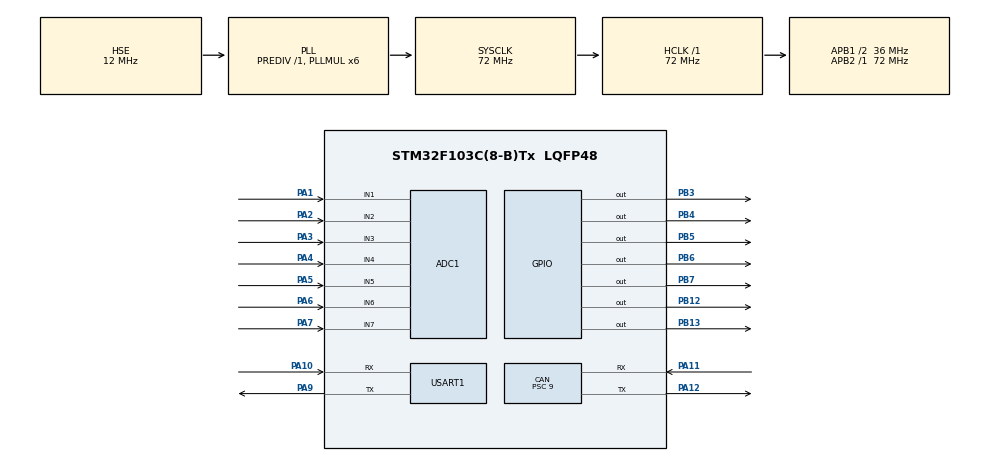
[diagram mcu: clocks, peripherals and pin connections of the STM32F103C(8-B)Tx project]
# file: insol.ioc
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ADC1.Channel-34\#ChannelRegularConversion=ADC_CHANNEL_1
ADC1.Channel-35\#ChannelRegularConversion=ADC_CHANNEL_2
ADC1.Channel-36\#ChannelRegularConversion=ADC_CHANNEL_3
ADC1.Channel-37\#ChannelRegularConversion=ADC_CHANNEL_4
ADC1.Channel-38\#ChannelRegularConversion=ADC_CHANNEL_5
ADC1.Channel-39\#ChannelRegularConversion=ADC_CHANNEL_6
ADC1.Channel-40\#ChannelRegularConversion=ADC_CHANNEL_7
ADC1.ContinuousConvMode=ENABLE
ADC1.DataAlign=ADC_DATAALIGN_RIGHT
ADC1.DiscontinuousConvMode=DISABLE
ADC1.EnableAnalogWatchDog=false
ADC1.EnableRegularConversion=ENABLE
ADC1.ExternalTrigConv=ADC_SOFTWARE_START
ADC1.InjNumberOfConversion=0
ADC1.NbrOfConversion=7
ADC1.NbrOfConversionFlag=1
ADC1.Rank-34\#ChannelRegularConversion=1
ADC1.Rank-35\#ChannelRegularConversion=2
ADC1.Rank-36\#ChannelRegularConversion=3
ADC1.Rank-37\#ChannelRegularConversion=4
ADC1.Rank-38\#ChannelRegularConversion=5
ADC1.Rank-39\#ChannelRegularConversion=6
ADC1.Rank-40\#ChannelRegularConversion=7
ADC1.SamplingTime-34\#ChannelRegularConversion=ADC_SAMPLETIME_71CYCLES_5
ADC1.SamplingTime-35\#ChannelRegularConversion=ADC_SAMPLETIME_71CYCLES_5
ADC1.SamplingTime-36\#ChannelRegularConversion=ADC_SAMPLETIME_71CYCLES_5
ADC1.SamplingTime-37\#ChannelRegularConversion=ADC_SAMPLETIME_71CYCLES_5
ADC1.SamplingTime-38\#ChannelRegularConversion=ADC_SAMPLETIME_71CYCLES_5
ADC1.SamplingTime-39\#ChannelRegularConversion=ADC_SAMPLETIME_71CYCLES_5
ADC1.SamplingTime-40\#ChannelRegularConversion=ADC_SAMPLETIME_71CYCLES_5
ADC1.ScanConvMode=ADC_SCAN_ENABLE
ADC1.master=1
CAN.ABOM=DISABLE
CAN.AWUM=DISABLE
CAN.BS1=CAN_BS1_2TQ
CAN.BS2=CAN_BS2_1TQ
CAN.CalculateTimeBit=1000
CAN.CalculateTimeQuantum=250.0
CAN.Mode=CAN_MODE_NORMAL
CAN.Prescaler=9
CAN.TXFP=ENABLE
Dma.ADC1.1.Direction=DMA_PERIPH_TO_MEMORY
Dma.ADC1.1.Instance=DMA1_Channel1
Dma.ADC1.1.MemDataAlignment=DMA_MDATAALIGN_HALFWORD
Dma.ADC1.1.MemInc=DMA_MINC_ENABLE
Dma.ADC1.1.Mode=DMA_NORMAL
Dma.ADC1.1.PeriphDataAlignment=DMA_PDATAALIGN_HALFWORD
Dma.ADC1.1.PeriphInc=DMA_PINC_DISABLE
Dma.ADC1.1.Priority=DMA_PRIORITY_HIGH
Dma.MEMTOMEM.0.Direction=DMA_MEMORY_TO_MEMORY
Dma.MEMTOMEM.0.Instance=DMA1_Channel2
Dma.MEMTOMEM.0.MemDataAlignment=DMA_MDATAALIGN_BYTE
Dma.MEMTOMEM.0.MemInc=DMA_MINC_ENABLE
Dma.MEMTOMEM.0.Mode=DMA_NORMAL
Dma.MEMTOMEM.0.PeriphDataAlignment=DMA_PDATAALIGN_BYTE
Dma.MEMTOMEM.0.PeriphInc=DMA_PINC_ENABLE
Dma.MEMTOMEM.0.Priority=DMA_PRIORITY_LOW
Dma.Request0=MEMTOMEM
Dma.Request1=ADC1
IWDG.Prescaler=IWDG_PRESCALER_4
IWDG.Reload=409
Mcu.Family=STM32F1
Mcu.Name=STM32F103C(8-B)Tx
Mcu.Package=LQFP48
NVIC.ADC1_2_IRQn=true\:0\:0\:false\:false\:true
NVIC.CAN1_RX1_IRQn=true\:0\:0\:false\:false\:true
NVIC.CAN1_SCE_IRQn=true\:0\:0\:false\:false\:true
NVIC.DMA1_Channel1_IRQn=true\:0\:0\:false\:true\:true\:1
NVIC.PriorityGroup=NVIC_PRIORITYGROUP_4
NVIC.TIM1_UP_IRQn=true\:0\:0\:false\:true\:true\:3
NVIC.USART1_IRQn=true\:0\:0\:false\:true\:true\:2
NVIC.USB_HP_CAN1_TX_IRQn=true\:0\:0\:false\:false\:true
NVIC.USB_LP_CAN1_RX0_IRQn=true\:0\:0\:false\:false\:true
PA1.Signal=ADCx_IN1
PA10.Mode=Asynchronous
PA10.Signal=USART1_RX
PA11.Mode=Master
PA11.Signal=CAN_RX
PA12.Mode=Master
PA12.Signal=CAN_TX
PA13.Mode=Serial_Wire
PA13.Signal=SYS_JTMS-SWDIO
PA14.Mode=Serial_Wire
PA14.Signal=SYS_JTCK-SWCLK
PA2.Signal=ADCx_IN2
PA3.Signal=ADCx_IN3
PA4.Signal=ADCx_IN4
PA5.Signal=ADCx_IN5
PA6.Signal=ADCx_IN6
PA7.Signal=ADCx_IN7
PA9.Mode=Asynchronous
PA9.Signal=USART1_TX
PB12.Signal=GPIO_Output
PB13.Signal=GPIO_Output
PB3.GPIO_ModeDefaultOutputPP=GPIO_MODE_OUTPUT_OD
PB3.Signal=GPIO_Output
PB4.Signal=GPIO_Output
PB5.Signal=GPIO_Output
PB6.Signal=GPIO_Output
PB7.Signal=GPIO_Output
PD0-OSC_IN.Mode=HSE-External-Oscillator
PD0-OSC_IN.Signal=RCC_OSC_IN
PD1-OSC_OUT.Mode=HSE-External-Oscillator
PD1-OSC_OUT.Signal=RCC_OSC_OUT
ProjectManager.HeapSize=0x200
ProjectManager.StackSize=0x400
ProjectManager.TargetToolchain=EWARM
RCC.ADCPresc=RCC_ADCPCLK2_DIV6
RCC.AHBCLKDivider=RCC_SYSCLK_DIV1
RCC.AHBFreq_Value=72000000
RCC.APB1CLKDivider=RCC_HCLK_DIV2
RCC.APB1Freq_Value=36000000
RCC.APB1TimFreq_Value=72000000
RCC.APB2CLKDivider=RCC_HCLK_DIV1
RCC.APB2Freq_Value=72000000
RCC.APB2TimFreq_Value=72000000
RCC.HCLKFreq_Value=72000000
RCC.HSE_VALUE=12000000
RCC.LSEState=RCC_LSE_ON
RCC.OscillatorTypeHSI=RCC_OSCILLATORTYPE_HSI
RCC.PLLMUL=RCC_PLL_MUL6
RCC.PLLSourceVirtual=RCC_PLLSOURCE_HSE
RCC.RCC_MCOSource=RCC_MCO1SOURCE_PLLCLK
RCC.RCC_PERIPHCLK_RTCVar=RCC_PERIPHCLK_RTC
RCC.SYSCLKFreq_VALUE=72000000
RCC.SYSCLKSource=RCC_SYSCLKSOURCE_PLLCLK
RCC.USBFreq_Value=72000000
SH.ADCx_IN1.0=ADC1_IN1,IN1
SH.ADCx_IN2.0=ADC1_IN2,IN2
SH.ADCx_IN3.0=ADC1_IN3,IN3
SH.ADCx_IN4.0=ADC1_IN4,IN4
SH.ADCx_IN5.0=ADC1_IN5,IN5
SH.ADCx_IN6.0=ADC1_IN6,IN6
SH.ADCx_IN7.0=ADC1_IN7,IN7
TIM1.Period=10
TIM1.Prescaler=7200
USART1.VirtualMode=VM_ASYNC
VP_IWDG_VS_IWDG.Mode=IWDG_Activate
VP_TIM1_VS_ClockSourceINT.Mode=Internal
board=insol

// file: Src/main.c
/**
  ******************************************************************************
  * File Name          : main.c
  * Description        : Main program body
  ******************************************************************************
  *
  * COPYRIGHT(c) 2017 STMicroelectronics
  *
  * Redistribution and use in source and binary forms, with or without modification,
  * are permitted provided that the following conditions are met:
  *   1. Redistributions of source code must retain the above copyright notice,
  *      this list of conditions and the following disclaimer.
  *   2. Redistributions in binary form must reproduce the above copyright notice,
  *      this list of conditions and the following disclaimer in the documentation
  *      and/or other materials provided with the distribution.
  *   3. Neither the name of STMicroelectronics nor the names of its contributors
  *      may be used to endorse or promote products derived from this software
  *      without specific prior written permission.
  *
  * THIS SOFTWARE IS PROVIDED BY THE COPYRIGHT HOLDERS AND CONTRIBUTORS "AS IS"
  * AND ANY EXPRESS OR IMPLIED WARRANTIES, INCLUDING, BUT NOT LIMITED TO, THE
  * IMPLIED WARRANTIES OF MERCHANTABILITY AND FITNESS FOR A PARTICULAR PURPOSE ARE
  * DISCLAIMED. IN NO EVENT SHALL THE COPYRIGHT HOLDER OR CONTRIBUTORS BE LIABLE
  * FOR ANY DIRECT, INDIRECT, INCIDENTAL, SPECIAL, EXEMPLARY, OR CONSEQUENTIAL
  * DAMAGES (INCLUDING, BUT NOT LIMITED TO, PROCUREMENT OF SUBSTITUTE GOODS OR
  * SERVICES; LOSS OF USE, DATA, OR PROFITS; OR BUSINESS INTERRUPTION) HOWEVER
  * CAUSED AND ON ANY THEORY OF LIABILITY, WHETHER IN CONTRACT, STRICT LIABILITY,
  * OR TORT (INCLUDING NEGLIGENCE OR OTHERWISE) ARISING IN ANY WAY OUT OF THE USE
  * OF THIS SOFTWARE, EVEN IF ADVISED OF THE POSSIBILITY OF SUCH DAMAGE.
  *
  ******************************************************************************
  */
#include "main.h"
#include "stm32f1xx_hal.h"

/* USER CODE BEGIN Includes */
#include "stdlib.h"
#include "hx_InsolSensor.h"
#include "hx_CANOpen.h"
#include "hx_CAN.h"
/* USER CODE END Includes */

ADC_HandleTypeDef hadc1;
DMA_HandleTypeDef hdma_adc1;

CAN_HandleTypeDef hcan;

IWDG_HandleTypeDef hiwdg;

TIM_HandleTypeDef htim1;

UART_HandleTypeDef huart1;

DMA_HandleTypeDef hdma_memtomem_dma1_channel2;

/* USER CODE BEGIN PV */
/* Private variables ---------------------------------------------------------*/

/* USER CODE END PV */

void SystemClock_Config(void);
void Error_Handler(void);
static void MX_GPIO_Init(void);
static void MX_DMA_Init(void);
static void MX_TIM1_Init(void);
static void MX_ADC1_Init(void);
static void MX_USART1_UART_Init(void);
static void MX_CAN_Init(void);
static void MX_IWDG_Init(void);
static void MX_NVIC_Init(void);

/* USER CODE BEGIN PFP */
/* Private function prototypes -----------------------------------------------*/
void (*reset)(void) = 0;

/* USER CODE END PFP */

/* USER CODE BEGIN 0 */

int fputc(int ch, FILE *f)
{
	uint8_t temp[1] = {ch};

	HAL_UART_Transmit(&huart1, temp, 1, 20);
	return ch;
}

void HAL_TIM_PeriodElapsedCallback(TIM_HandleTypeDef * htim)
{
	if (htim->Instance == TIM1) {
		InsolTimer.tick++;
		//InsolTimer.temp++;
	}
}

void HAL_UART_RxCpltCallback(UART_HandleTypeDef * huart)
{
	Insol.led.adcCnt++;
}

void HAL_ADC_ConvCpltCallback(ADC_HandleTypeDef* hadc)
{
	//uint32_t i;

	HAL_ADC_Stop_DMA(&hadc1);
	Insol.led.adcCnt++;
	fnADCDrv_Copy2Buf();
	Insol.adc.complete = 1;
	ADCDrv_SelectSensorSource();
	if (Insol.runMode > RM_CALIBRATION) {
		HAL_ADC_Start_DMA(&hadc1,(uint32_t *)&AdcDmaBuf[1], NumOfAdcChan );
		//Insol.adc.complete = 0;
	}
	//HAL_GPIO_TogglePin(GPIOB, LED_ORANGE);
}

/**
  * @brief  Transmission  complete callback in non blocking mode
  * @param  CanHandle: pointer to a CAN_HandleTypeDef structure that contains
  *         the configuration information for the specified CAN.
  * @retval None
  */
void HAL_CAN_RxCpltCallback(CAN_HandleTypeDef *hcan)
{
	int i;

	if ((hcan->pRxMsg->StdId == Insol.can.rxid) && (hcan->pRxMsg->IDE == CAN_ID_STD))
		//&& (hcan->pRxMsg->DLC == 2))
	{
		//LED_Display(CanHandle->pRxMsg->Data[0]);
		// ubKeyNumber = CanHandle->pRxMsg->Data[0];
		//if (HAL_DMA_Start_IT(&hdma_memtomem_dma1_channel2,
		//	(uint32_t)hcan->pRxMsg->Data, (uint32_t)CanRxMsg.buf[CanRxMsg.head], 8) != HAL_OK) {
		//	Error_Handler();
		//}
		for (i = 0; i < hcan->pRxMsg->DLC; i++) {
			CanInfo.rx.buf[CanInfo.rx.head][i] = hcan->pRxMsg->Data[i];
		}
		CanInfo.rx.head++;
		if (CanInfo.rx.head >= CAN_RX_BUF_NUM) CanInfo.rx.head = 0;
		Insol.led.canCnt++;
	}

	/* Receive */
	__HAL_CAN_ENABLE_IT(hcan, CAN_IT_FMP0);
}

void HAL_CAN_TxCpltCallback(CAN_HandleTypeDef* hcan)
{
	if (hcan->Instance == CAN1) {
		if (hcan->State == HAL_CAN_STATE_READY) Insol.can.complete = 1;
	}
}

/* USER CODE END 0 */

int main(void)
{

  /* MCU Configuration----------------------------------------------------------*/

  /* Reset of all peripherals, Initializes the Flash interface and the Systick. */
  HAL_Init();

  /* Configure the system clock */
  SystemClock_Config();

  /* Initialize all configured peripherals */
  MX_GPIO_Init();
  MX_DMA_Init();
  MX_TIM1_Init();
  MX_ADC1_Init();
  MX_USART1_UART_Init();
  MX_CAN_Init();
  MX_IWDG_Init();

  /* Initialize interrupts */
  MX_NVIC_Init();

  /* USER CODE BEGIN 2 */
	HAL_IWDG_Start(&hiwdg);
	Insol_Init();
	HAL_TIM_Base_Start_IT(&htim1);

	ADCDrv_Init();
	Insol_RunMode_Calibration();
	//#ifdef SUPPORT_UART_PRINT
	Insol_SetRunMode(RM_NORMAL_12BIT);
	//Insol_SetRunMode(RM_NORMAL_8BIT);
	//#endif
	CANDrv_Init();
	Insol_Print2Uart_SystemInfo();
  /* USER CODE END 2 */

  /* Infinite loop */
  while (1)
  {

  /* USER CODE BEGIN 3 */
	CANOpen_Process();
	fnInsol_RunMode();
	//Insol_RunMode_Normal();
	HAL_IWDG_Refresh(&hiwdg);
  }
  /* USER CODE END 3 */

}

/** System Clock Configuration
*/
void SystemClock_Config(void)
{

  RCC_OscInitTypeDef RCC_OscInitStruct;
  RCC_ClkInitTypeDef RCC_ClkInitStruct;
  RCC_PeriphCLKInitTypeDef PeriphClkInit;

    /**Initializes the CPU, AHB and APB busses clocks
    */
  RCC_OscInitStruct.OscillatorType = RCC_OSCILLATORTYPE_LSI
                              |RCC_OSCILLATORTYPE_HSE;
  RCC_OscInitStruct.HSEState = RCC_HSE_ON;
  RCC_OscInitStruct.HSEPredivValue = RCC_HSE_PREDIV_DIV1;
  RCC_OscInitStruct.HSIState = RCC_HSI_ON;
  RCC_OscInitStruct.LSIState = RCC_LSI_ON;
  RCC_OscInitStruct.PLL.PLLState = RCC_PLL_ON;
  RCC_OscInitStruct.PLL.PLLSource = RCC_PLLSOURCE_HSE;
  RCC_OscInitStruct.PLL.PLLMUL = RCC_PLL_MUL6;
  if (HAL_RCC_OscConfig(&RCC_OscInitStruct) != HAL_OK)
  {
    Error_Handler();
  }

    /**Initializes the CPU, AHB and APB busses clocks
    */
  RCC_ClkInitStruct.ClockType = RCC_CLOCKTYPE_HCLK|RCC_CLOCKTYPE_SYSCLK
                              |RCC_CLOCKTYPE_PCLK1|RCC_CLOCKTYPE_PCLK2;
  RCC_ClkInitStruct.SYSCLKSource = RCC_SYSCLKSOURCE_PLLCLK;
  RCC_ClkInitStruct.AHBCLKDivider = RCC_SYSCLK_DIV1;
  RCC_ClkInitStruct.APB1CLKDivider = RCC_HCLK_DIV2;
  RCC_ClkInitStruct.APB2CLKDivider = RCC_HCLK_DIV1;

  if (HAL_RCC_ClockConfig(&RCC_ClkInitStruct, FLASH_LATENCY_2) != HAL_OK)
  {
    Error_Handler();
  }

  PeriphClkInit.PeriphClockSelection = RCC_PERIPHCLK_RTC|RCC_PERIPHCLK_ADC;
  PeriphClkInit.AdcClockSelection = RCC_ADCPCLK2_DIV6;
  if (HAL_RCCEx_PeriphCLKConfig(&PeriphClkInit) != HAL_OK)
  {
    Error_Handler();
  }

    /**Configure the Systick interrupt time
    */
  HAL_SYSTICK_Config(HAL_RCC_GetHCLKFreq()/1000);

    /**Configure the Systick
    */
  HAL_SYSTICK_CLKSourceConfig(SYSTICK_CLKSOURCE_HCLK);

  /* SysTick_IRQn interrupt configuration */
  HAL_NVIC_SetPriority(SysTick_IRQn, 0, 0);
}

/** NVIC Configuration
*/
static void MX_NVIC_Init(void)
{
  /* DMA1_Channel1_IRQn interrupt configuration */
  HAL_NVIC_SetPriority(DMA1_Channel1_IRQn, 0, 0);
  HAL_NVIC_EnableIRQ(DMA1_Channel1_IRQn);
  /* USART1_IRQn interrupt configuration */
  HAL_NVIC_SetPriority(USART1_IRQn, 0, 0);
  HAL_NVIC_EnableIRQ(USART1_IRQn);
  /* TIM1_UP_IRQn interrupt configuration */
  HAL_NVIC_SetPriority(TIM1_UP_IRQn, 0, 0);
  HAL_NVIC_EnableIRQ(TIM1_UP_IRQn);
}

/* ADC1 init function */
static void MX_ADC1_Init(void)
{

  ADC_ChannelConfTypeDef sConfig;

    /**Common config
    */
  hadc1.Instance = ADC1;
  hadc1.Init.ScanConvMode = ADC_SCAN_ENABLE;
  hadc1.Init.ContinuousConvMode = ENABLE;
  hadc1.Init.DiscontinuousConvMode = DISABLE;
  hadc1.Init.ExternalTrigConv = ADC_SOFTWARE_START;
  hadc1.Init.DataAlign = ADC_DATAALIGN_RIGHT;
  hadc1.Init.NbrOfConversion = 7;
  if (HAL_ADC_Init(&hadc1) != HAL_OK)
  {
    Error_Handler();
  }

    /**Configure Regular Channel
    */
  sConfig.Channel = ADC_CHANNEL_1;
  sConfig.Rank = 1;
  sConfig.SamplingTime = ADC_SAMPLETIME_239CYCLES_5;//ADC_SAMPLETIME_71CYCLES_5;
  if (HAL_ADC_ConfigChannel(&hadc1, &sConfig) != HAL_OK)
  {
    Error_Handler();
  }

    /**Configure Regular Channel
    */
  sConfig.Channel = ADC_CHANNEL_2;
  sConfig.Rank = 2;
  if (HAL_ADC_ConfigChannel(&hadc1, &sConfig) != HAL_OK)
  {
    Error_Handler();
  }

    /**Configure Regular Channel
    */
  sConfig.Channel = ADC_CHANNEL_3;
  sConfig.Rank = 3;
  if (HAL_ADC_ConfigChannel(&hadc1, &sConfig) != HAL_OK)
  {
    Error_Handler();
  }

    /**Configure Regular Channel
    */
  sConfig.Channel = ADC_CHANNEL_4;
  sConfig.Rank = 4;
  if (HAL_ADC_ConfigChannel(&hadc1, &sConfig) != HAL_OK)
  {
    Error_Handler();
  }

    /**Configure Regular Channel
    */
  sConfig.Channel = ADC_CHANNEL_5;
  sConfig.Rank = 5;
  if (HAL_ADC_ConfigChannel(&hadc1, &sConfig) != HAL_OK)
  {
    Error_Handler();
  }

    /**Configure Regular Channel
    */
  sConfig.Channel = ADC_CHANNEL_6;
  sConfig.Rank = 6;
  if (HAL_ADC_ConfigChannel(&hadc1, &sConfig) != HAL_OK)
  {
    Error_Handler();
  }

    /**Configure Regular Channel
    */
  sConfig.Channel = ADC_CHANNEL_7;
  sConfig.Rank = 7;
  if (HAL_ADC_ConfigChannel(&hadc1, &sConfig) != HAL_OK)
  {
    Error_Handler();
  }

}

/* CAN init function */
static void MX_CAN_Init(void)
{

  hcan.Instance = CAN1;
  hcan.Init.Prescaler = 9;
  hcan.Init.Mode = CAN_MODE_NORMAL;
  hcan.Init.SJW = CAN_SJW_1TQ;
  hcan.Init.BS1 = CAN_BS1_2TQ;
  hcan.Init.BS2 = CAN_BS2_1TQ;
  hcan.Init.TTCM = DISABLE;
  hcan.Init.ABOM = DISABLE;
  hcan.Init.AWUM = DISABLE;
  hcan.Init.NART = DISABLE;
  hcan.Init.RFLM = DISABLE;
  hcan.Init.TXFP = ENABLE;
  if (HAL_CAN_Init(&hcan) != HAL_OK)
  {
    Error_Handler();
  }

}

/* IWDG init function */
static void MX_IWDG_Init(void)
{

  hiwdg.Instance = IWDG;
  hiwdg.Init.Prescaler = IWDG_PRESCALER_4;
  hiwdg.Init.Reload = 409;
  if (HAL_IWDG_Init(&hiwdg) != HAL_OK)
  {
    Error_Handler();
  }

}

/* TIM1 init function */
static void MX_TIM1_Init(void)
{

  TIM_ClockConfigTypeDef sClockSourceConfig;
  TIM_MasterConfigTypeDef sMasterConfig;

  htim1.Instance = TIM1;
  htim1.Init.Prescaler = 7200;
  htim1.Init.CounterMode = TIM_COUNTERMODE_UP;
  htim1.Init.Period = 10;
  htim1.Init.ClockDivision = TIM_CLOCKDIVISION_DIV1;
  htim1.Init.RepetitionCounter = 0;
  if (HAL_TIM_Base_Init(&htim1) != HAL_OK)
  {
    Error_Handler();
  }

  sClockSourceConfig.ClockSource = TIM_CLOCKSOURCE_INTERNAL;
  if (HAL_TIM_ConfigClockSource(&htim1, &sClockSourceConfig) != HAL_OK)
  {
    Error_Handler();
  }

  sMasterConfig.MasterOutputTrigger = TIM_TRGO_RESET;
  sMasterConfig.MasterSlaveMode = TIM_MASTERSLAVEMODE_DISABLE;
  if (HAL_TIMEx_MasterConfigSynchronization(&htim1, &sMasterConfig) != HAL_OK)
  {
    Error_Handler();
  }

}

/* USART1 init function */
static void MX_USART1_UART_Init(void)
{

  huart1.Instance = USART1;
  huart1.Init.BaudRate = 115200;//230400
  huart1.Init.WordLength = UART_WORDLENGTH_8B;
  huart1.Init.StopBits = UART_STOPBITS_1;
  huart1.Init.Parity = UART_PARITY_NONE;
  huart1.Init.Mode = UART_MODE_TX_RX;
  huart1.Init.HwFlowCtl = UART_HWCONTROL_NONE;
  huart1.Init.OverSampling = UART_OVERSAMPLING_16;
  if (HAL_UART_Init(&huart1) != HAL_OK)
  {
    Error_Handler();
  }

}

static void MX_DMA_Init(void)
{
  /* DMA controller clock enable */
  __HAL_RCC_DMA1_CLK_ENABLE();

  /* Configure DMA request hdma_memtomem_dma1_channel2 on DMA1_Channel2 */
  hdma_memtomem_dma1_channel2.Instance = DMA1_Channel2;
  hdma_memtomem_dma1_channel2.Init.Direction = DMA_MEMORY_TO_MEMORY;
  hdma_memtomem_dma1_channel2.Init.PeriphInc = DMA_PINC_ENABLE;
  hdma_memtomem_dma1_channel2.Init.MemInc = DMA_MINC_ENABLE;
  hdma_memtomem_dma1_channel2.Init.PeriphDataAlignment = DMA_PDATAALIGN_BYTE;
  hdma_memtomem_dma1_channel2.Init.MemDataAlignment = DMA_MDATAALIGN_BYTE;
  hdma_memtomem_dma1_channel2.Init.Mode = DMA_NORMAL;
  hdma_memtomem_dma1_channel2.Init.Priority = DMA_PRIORITY_LOW;
  if (HAL_DMA_Init(&hdma_memtomem_dma1_channel2) != HAL_OK)
  {
    Error_Handler();
  }

}

/** Configure pins as
        * Analog
        * Input
        * Output
        * EVENT_OUT
        * EXTI
*/
static void MX_GPIO_Init(void)
{

  GPIO_InitTypeDef GPIO_InitStruct;

  /* GPIO Ports Clock Enable */
  __HAL_RCC_GPIOD_CLK_ENABLE();
  __HAL_RCC_GPIOA_CLK_ENABLE();
  __HAL_RCC_GPIOB_CLK_ENABLE();

  /*Configure GPIO pin Output Level */
  HAL_GPIO_WritePin(GPIOB, GPIO_PIN_12|GPIO_PIN_13|GPIO_PIN_3|GPIO_PIN_4
                          |GPIO_PIN_5|GPIO_PIN_6|GPIO_PIN_7, GPIO_PIN_RESET);

  /*Configure GPIO pins : PB12 PB13 PB4 PB5
                           PB6 PB7 */
  GPIO_InitStruct.Pin = GPIO_PIN_12|GPIO_PIN_13|GPIO_PIN_4|GPIO_PIN_5
                          |GPIO_PIN_6|GPIO_PIN_7;
  GPIO_InitStruct.Mode = GPIO_MODE_OUTPUT_PP;
  GPIO_InitStruct.Speed = GPIO_SPEED_FREQ_LOW;
  HAL_GPIO_Init(GPIOB, &GPIO_InitStruct);

  /*Configure GPIO pin : PB3 */
  GPIO_InitStruct.Pin = GPIO_PIN_3;
  GPIO_InitStruct.Mode = GPIO_MODE_OUTPUT_OD;
  GPIO_InitStruct.Speed = GPIO_SPEED_FREQ_LOW;
  HAL_GPIO_Init(GPIOB, &GPIO_InitStruct);

}

void Error_Handler(void)
{
  while(1)
  {
  }
}

/************************ (C) COPYRIGHT STMicroelectronics *****END OF FILE****/
